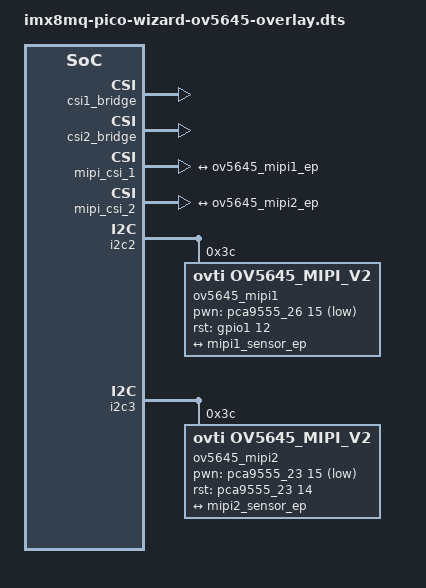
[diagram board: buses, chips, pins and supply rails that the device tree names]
/dts-v1/;
/plugin/;

#include "../imx8mq-pinfunc.h"
#include <dt-bindings/clock/imx8mq-clock.h>
#include <dt-bindings/interrupt-controller/irq.h>
#include <dt-bindings/input/input.h>
#include <dt-bindings/gpio/gpio.h>

/ {

	fragment@0 {
		target = <&csi1_bridge>;
		__overlay__ {
			status = "okay";
		};
	};

	fragment@1 {
		target = <&csi2_bridge>;
		__overlay__ {
			status = "okay";
		};
	};

	fragment@2 {
		target = <&mipi_csi_1>;
		__overlay__ {
			status = "okay";
			#address-cells = <1>;
			#size-cells = <0>;

			port {
				mipi1_sensor_ep: endpoint@0 {
					remote-endpoint = <&ov5645_mipi1_ep>;
					data-lanes = <1 2>;
					bus-type = <4>;
				};
			};
		};
	};

	fragment@3 {
		target = <&mipi_csi_2>;
		__overlay__ {
			status = "okay";
			#address-cells = <1>;
			#size-cells = <0>;

			port {
				mipi2_sensor_ep: endpoint@0 {
					remote-endpoint = <&ov5645_mipi2_ep>;
					data-lanes = <1 2>;
					bus-type = <4>;
				};
			};
		};
	};

	fragment@4 {
		target = <&i2c2>;
		__overlay__ {
			#address-cells = <1>;
			#size-cells = <0>;
			status = "okay";
			
			ov5645_mipi1: ov5645_mipi@3c {
			compatible = "ovti,ov5645_mipi_v2";
			reg = <0x3c>;
			status = "okay";
			pinctrl-names = "default";
			pinctrl-0 = <&pinctrl_csi1>;
			clocks = <&clk IMX8MQ_CLK_CLKO2>;
			clock-names = "csi_mclk";
			assigned-clocks = <&clk IMX8MQ_CLK_CLKO2>;
			assigned-clock-parents = <&clk IMX8MQ_SYS2_PLL_200M>;
			assigned-clock-rates = <24000000>;
			csi_id = <0>;
			pwn-gpios = <&pca9555_26 15 GPIO_ACTIVE_LOW>;
			rst-gpios = <&gpio1 12 GPIO_ACTIVE_HIGH>;
			mclk = <24000000>;
			mclk_source = <0>;
			port {
				ov5645_mipi1_ep: endpoint {
					remote-endpoint = <&mipi1_sensor_ep>;
				};
			};
		};
		};
	};

	fragment@5 {
		target = <&i2c3>;
		__overlay__ {
			#address-cells = <1>;
			#size-cells = <0>;
			status = "okay";

			ov5645_mipi2: ov5645_mipi2@3c {
				compatible = "ovti,ov5645_mipi_v2";
				reg = <0x3c>;
				status = "okay";
				pinctrl-names = "default";
				clocks = <&clk IMX8MQ_CLK_CLKO2>;
				clock-names = "csi_mclk";
				assigned-clocks = <&clk IMX8MQ_CLK_CLKO2>;
				assigned-clock-parents = <&clk IMX8MQ_SYS2_PLL_200M>;
				assigned-clock-rates = <24000000>;
				csi_id = <1>;
				pwn-gpios = <&pca9555_23 15 GPIO_ACTIVE_LOW>;
				rst-gpios = <&pca9555_23 14 GPIO_ACTIVE_HIGH>;
				mclk = <24000000>;
				mclk_source = <0>;
				port {
					ov5645_mipi2_ep: endpoint {
						remote-endpoint = <&mipi2_sensor_ep>;
					};
				};
			};
		};
	};
};
